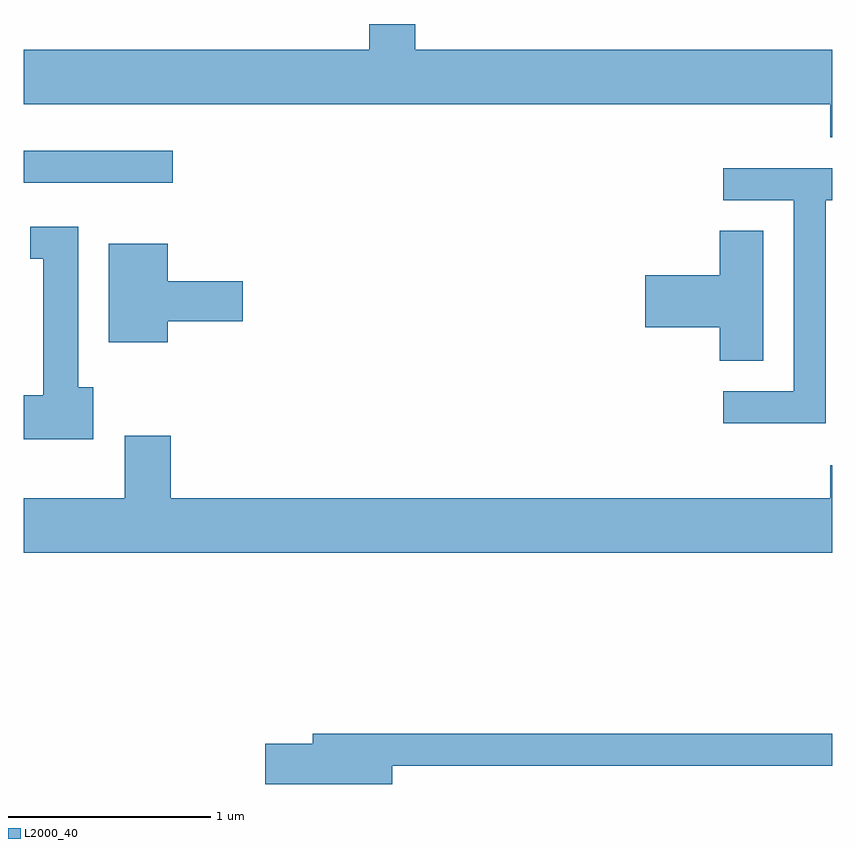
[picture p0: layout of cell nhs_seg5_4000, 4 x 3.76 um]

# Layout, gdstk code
import gdstk
lib = gdstk.Library(unit=1e-6, precision=1e-09)
def R(c, l, rs):  # rectangles x0, y0, x1, y1
    for r in rs: c.add(gdstk.rectangle(r[:2], r[2:], *l))
def P(c, l, *ps):  # polygons
    for p in ps: c.add(gdstk.Polygon(p, *l))
L2000_40 = (2000, 40)

nhs_seg5_4000 = lib.new_cell('nhs_seg5_4000')
R(nhs_seg5_4000, L2000_40, [(303.611,1465.286,304.348,1465.444)])
P(nhs_seg5_4000, L2000_40, [(307.611,1465.944),(305.549,1465.944),(305.549,1466.072),(305.321,1466.072),(305.321,1465.944),(303.611,1465.944),(303.611,1465.676),(307.601,1465.676),(307.601,1465.511),(307.611,1465.511)],
  [(307.579,1465.201),(307.611,1465.201),(307.611,1465.359),(307.073,1465.359),(307.073,1465.201),(307.421,1465.201),(307.421,1464.254),(307.073,1464.254),(307.073,1464.096),(307.579,1464.096)],
  [(303.954,1464.274),(303.879,1464.274),(303.879,1465.069),(303.643,1465.069),(303.643,1464.911),(303.706,1464.911),(303.706,1464.234),(303.611,1464.234),(303.611,1464.016),(303.954,1464.016)],
  [(307.269,1465.049),(307.056,1465.049),(307.056,1464.829),(306.686,1464.829),(306.686,1464.571),(307.056,1464.571),(307.056,1464.406),(307.269,1464.406)],
  [(304.324,1464.601),(304.694,1464.601),(304.694,1464.799),(304.324,1464.799),(304.324,1464.984),(304.031,1464.984),(304.031,1464.496),(304.324,1464.496)],
  [(307.611,1463.889),(307.601,1463.889),(307.601,1463.724),(304.339,1463.724),(304.339,1464.034),(304.111,1464.034),(304.111,1463.724),(303.611,1463.724),(303.611,1463.456),(307.611,1463.456)],
  [(305.434,1462.401),(307.611,1462.401),(307.611,1462.559),(305.041,1462.559),(305.041,1462.509),(304.806,1462.509),(304.806,1462.311),(305.434,1462.311)])

lib.write_gds('nhs_seg5_4000.gds')
